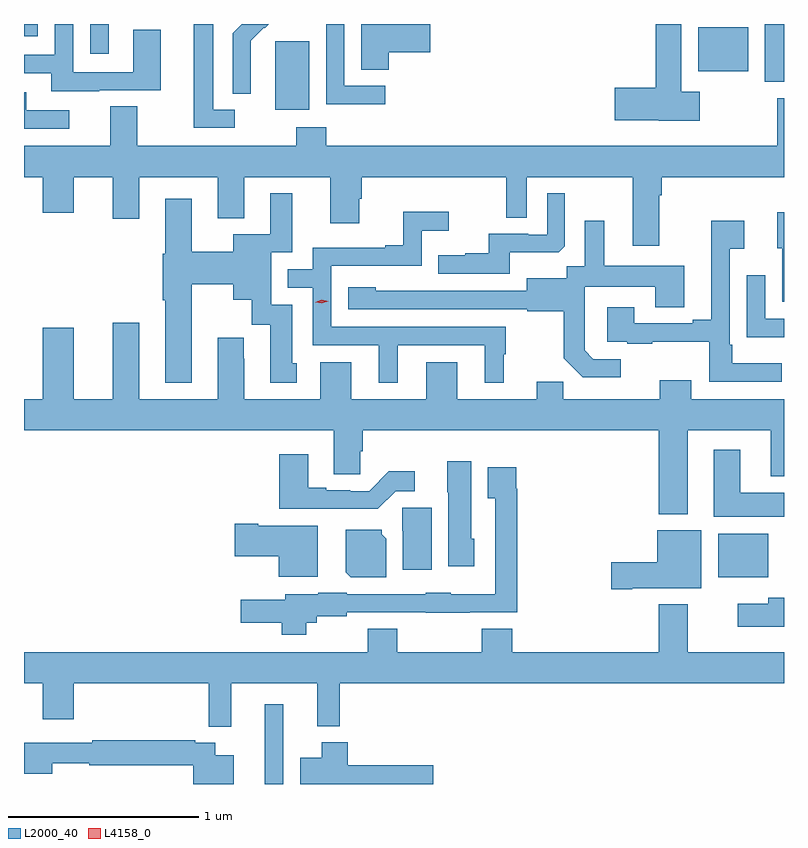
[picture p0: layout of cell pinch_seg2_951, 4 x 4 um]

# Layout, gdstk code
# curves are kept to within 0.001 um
import gdstk
lib = gdstk.Library(unit=1e-6, precision=1e-09)
def R(c, l, rs):  # rectangles x0, y0, x1, y1
    for r in rs: c.add(gdstk.rectangle(r[:2], r[2:], *l))
def P(c, l, *ps):  # polygons
    for p in ps: c.add(gdstk.Polygon(p, *l))
L2000_40 = (2000, 40)
L4158_0 = (4158, 0)

pinch_seg2_951 = lib.new_cell('pinch_seg2_951')
R(pinch_seg2_951, L2000_40, [(357.986,648.438,358.083,648.859), (360.371,649.526,360.634,649.756), (358.04,651.986,358.219,652.347), (360.617,652.133,360.718,652.438), (360.266,652.19,360.529,652.42), (356.718,652.374,356.79,652.438)])
P(pinch_seg2_951, L2000_40, [(358.637,652.289),(358.855,652.289),(358.855,652.438),(358.493,652.438),(358.493,652.198),(358.637,652.198)],
  [(357.826,651.987),(357.715,651.987),(357.715,652.438),(357.611,652.438),(357.611,651.891),(357.826,651.891)],
  [(357.163,652.437),(357.164,652.438),(357.066,652.438),(357.066,652.281),(357.163,652.281)],
  [(360.274,652.081),(360.178,652.081),(360.178,652.438),(360.044,652.438),(360.044,652.103),(359.826,652.103),(359.826,651.932),(360.06,651.932),(360.06,651.929),(360.274,651.929)],
  [(357.115,652.089),(357.439,652.089),(357.439,652.409),(357.294,652.409),(357.294,652.185),(356.976,652.185),(356.976,652.438),(356.88,652.438),(356.88,652.275),(356.718,652.275),(356.718,652.179),(356.861,652.179),(356.861,652.085),(357.115,652.085)],
  [(357.912,652.226),(357.911,652.226),(357.911,652.349),(357.981,652.419),(357.984,652.416),(358.006,652.438),(357.864,652.438),(357.816,652.39),(357.816,652.072),(357.912,652.072)],
  [(358.618,652.113),(358.404,652.113),(358.404,652.438),(358.308,652.438),(358.308,652.015),(358.618,652.015)],
  [(356.956,651.984),(356.731,651.984),(356.731,652.08),(356.718,652.08),(356.718,651.888),(356.956,651.888)],
  [(360.061,651.536),(360.074,651.536),(360.074,651.632),(360.718,651.632),(360.718,652.048),(360.682,652.048),(360.682,651.796),(358.31,651.796),(358.31,651.895),(358.15,651.895),(358.15,651.796),(357.313,651.796),(357.313,652.004),(357.173,652.004),(357.173,651.796),(356.718,651.796),(356.718,651.632),(356.816,651.632),(356.816,651.444),(356.98,651.444),(356.98,651.632),(357.185,651.632),(357.185,651.414),(357.325,651.414),(357.325,651.632),(357.737,651.632),(357.737,651.416),(357.877,651.416),(357.877,651.632),(358.331,651.632),(358.331,651.39),(358.483,651.39),(358.483,651.519),(358.496,651.519),(358.496,651.632),(359.256,651.632),(359.256,651.418),(359.364,651.418),(359.364,651.632),(359.921,651.632),(359.921,651.27),(360.061,651.27)],
  [(359.275,651.236),(359.533,651.236),(359.565,651.267),(359.565,651.547),(359.472,651.547),(359.472,651.33),(359.372,651.33),(359.372,651.333),(359.165,651.333),(359.165,651.232),(359.041,651.232),(359.041,651.22),(358.897,651.22),(358.897,651.123),(359.275,651.123)],
  [(357.601,651.068),(357.818,651.068),(357.818,650.987),(357.917,650.987),(357.917,650.856),(358.013,650.856),(358.013,650.55),(358.153,650.55),(358.153,650.652),(358.129,650.652),(358.129,650.961),(358.02,650.961),(358.02,651.237),(358.129,651.237),(358.129,651.547),(358.013,651.547),(358.013,651.331),(357.818,651.331),(357.818,651.24),(357.601,651.24),(357.601,651.517),(357.461,651.517),(357.461,651.228),(357.449,651.228),(357.449,650.984),(357.461,650.984),(357.461,650.549),(357.601,650.549)],
  [(358.684,650.748),(359.144,650.748),(359.144,650.549),(359.242,650.549),(359.242,650.7),(359.254,650.7),(359.254,650.844),(358.335,650.844),(358.335,651.165),(358.812,651.165),(358.812,651.35),(358.954,651.35),(358.954,651.449),(358.714,651.449),(358.714,651.274),(358.619,651.274),(358.619,651.261),(358.239,651.261),(358.239,651.147),(358.106,651.147),(358.106,651.051),(358.239,651.051),(358.239,650.748),(358.586,650.748),(358.586,650.549),(358.684,650.549)],
  [(360.718,651.446),(360.683,651.446),(360.683,651.258),(360.708,651.258),(360.708,650.976),(360.718,650.976)],
  [(359.86,650.673),(359.715,650.673),(359.668,650.72),(359.668,650.815),(359.67,650.815),(359.67,651.056),(360.041,651.056),(360.041,650.947),(360.193,650.947),(360.193,651.166),(359.773,651.166),(359.773,651.403),(359.669,651.403),(359.669,651.164),(359.574,651.164),(359.574,651.1),(359.363,651.1),(359.363,651.033),(358.569,651.034),(358.569,651.052),(358.425,651.052),(358.425,650.937),(359.367,650.937),(359.367,650.925),(359.559,650.925),(359.559,650.679),(359.659,650.579),(359.86,650.579)],
  [(360.706,650.653),(360.445,650.653),(360.445,650.749),(360.432,650.749),(360.432,651.254),(360.508,651.254),(360.508,651.403),(360.335,651.403),(360.335,650.881),(360.239,650.881),(360.239,650.862),(359.929,650.862),(359.929,650.947),(359.789,650.947),(359.789,650.766),(359.893,650.766),(359.893,650.754),(360.025,650.754),(360.025,650.765),(360.324,650.765),(360.324,650.556),(360.706,650.556)],
  [(360.718,650.886),(360.618,650.886),(360.618,651.115),(360.522,651.115),(360.522,650.789),(360.718,650.789)],
  [(358.349,650.068),(358.488,650.068),(358.488,650.19),(358.502,650.19),(358.502,650.3),(360.059,650.3),(360.059,649.859),(360.211,649.859),(360.211,650.3),(360.647,650.3),(360.647,650.057),(360.718,650.057),(360.718,650.464),(360.229,650.464),(360.229,650.563),(360.065,650.563),(360.065,650.464),(359.555,650.464),(359.555,650.555),(359.417,650.555),(359.417,650.464),(358.999,650.464),(358.999,650.659),(358.835,650.659),(358.835,650.464),(358.441,650.464),(358.441,650.659),(358.277,650.659),(358.277,650.464),(357.877,650.464),(357.877,650.675),(357.874,650.675),(357.874,650.788),(357.737,650.788),(357.737,650.464),(357.325,650.464),(357.325,650.866),(357.185,650.866),(357.185,650.464),(356.98,650.464),(356.98,650.839),(356.816,650.839),(356.816,650.464),(356.718,650.464),(356.718,650.3),(358.349,650.3)],
  [(360.718,649.972),(360.487,649.972),(360.487,650.197),(360.347,650.197),(360.347,649.844),(360.718,649.844)],
  [(358.674,649.98),(358.774,649.98),(358.774,650.083),(358.639,650.083),(358.536,649.98),(358.436,649.98),(358.436,649.983),(358.309,649.983),(358.309,649.996),(358.213,649.996),(358.213,650.173),(358.061,650.173),(358.061,649.886),(358.58,649.886)],
  [(359.089,649.728),(359.071,649.728),(359.071,650.137),(358.946,650.137),(358.946,649.974),(358.952,649.974),(358.952,649.584),(359.089,649.584)],
  [(358.204,649.286),(358.259,649.286),(358.259,649.322),(358.416,649.322),(358.416,649.341),(358.833,649.341),(358.833,649.34),(359.065,649.34),(359.065,649.341),(359.315,649.341),(359.315,649.991),(359.308,649.991),(359.308,650.104),(359.159,650.104),(359.159,649.943),(359.199,649.943),(359.199,649.438),(358.965,649.438),(358.965,649.444),(358.833,649.444),(358.833,649.437),(358.416,649.437),(358.416,649.444),(358.266,649.444),(358.266,649.438),(358.094,649.438),(358.094,649.408),(357.858,649.408),(357.858,649.286),(358.075,649.286),(358.075,649.223),(358.204,649.223)],
  [(358.864,649.893),(358.708,649.893),(358.708,649.77),(358.712,649.77),(358.712,649.566),(358.864,649.566)],
  [(358.264,649.798),(357.951,649.798),(357.951,649.808),(357.828,649.808),(357.828,649.637),(358.058,649.637),(358.058,649.529),(358.264,649.529)],
  [(358.624,649.73),(358.602,649.752),(358.602,649.777),(358.412,649.777),(358.412,649.552),(358.438,649.526),(358.624,649.526)],
  [(359.92,649.469),(360.283,649.469),(360.283,649.774),(360.05,649.774),(360.05,649.604),(359.808,649.604),(359.808,649.462),(359.92,649.462)],
  [(360.718,649.417),(360.635,649.417),(360.635,649.387),(360.474,649.387),(360.474,649.265),(360.718,649.265)],
  [(356.718,648.968),(356.816,648.968),(356.816,648.78),(356.98,648.78),(356.98,648.968),(357.691,648.968),(357.691,648.739),(357.809,648.739),(357.809,648.968),(358.262,648.968),(358.262,648.743),(358.379,648.743),(358.379,648.968),(360.718,648.968),(360.718,649.132),(360.211,649.132),(360.211,649.384),(360.059,649.384),(360.059,649.132),(359.288,649.132),(359.288,649.256),(359.128,649.256),(359.128,649.132),(358.683,649.132),(358.683,649.256),(358.528,649.256),(358.528,649.132),(356.718,649.132)],
  [(357.823,648.589),(357.724,648.589),(357.724,648.654),(357.62,648.654),(357.62,648.667),(357.076,648.667),(357.076,648.654),(356.718,648.654),(356.718,648.491),(356.866,648.491),(356.866,648.546),(357.062,648.546),(357.062,648.538),(357.608,648.538),(357.608,648.438),(357.823,648.438)],
  [(358.873,648.537),(358.421,648.537),(358.421,648.658),(358.286,648.658),(358.286,648.577),(358.172,648.577),(358.172,648.438),(358.873,648.438)])
P(pinch_seg2_951, L4158_0, [(358.286,650.967),(358.251,650.974),(358.251,650.974),(358.251,650.974),(358.284,650.987),(358.319,650.98),(358.32,650.979),(358.319,650.979)])

lib.write_gds('pinch_seg2_951.gds')
